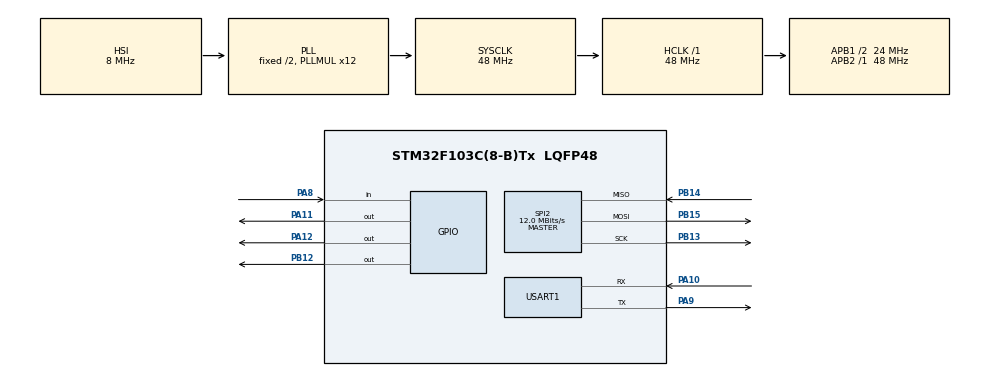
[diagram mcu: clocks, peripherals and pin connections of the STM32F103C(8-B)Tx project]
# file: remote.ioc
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Mcu.Family=STM32F1
Mcu.Name=STM32F103C(8-B)Tx
Mcu.Package=LQFP48
NVIC.PriorityGroup=NVIC_PRIORITYGROUP_4
PA10.Mode=Asynchronous
PA10.Signal=USART1_RX
PA11.PinState=GPIO_PIN_SET
PA11.Signal=GPIO_Output
PA12.Signal=GPIO_Output
PA13.Mode=Serial_Wire
PA13.Signal=SYS_JTMS-SWDIO
PA14.Mode=Serial_Wire
PA14.Signal=SYS_JTCK-SWCLK
PA8.GPIO_PuPd=GPIO_PULLUP
PA8.Signal=GPIO_Input
PA9.Mode=Asynchronous
PA9.Signal=USART1_TX
PB12.PinState=GPIO_PIN_SET
PB12.Signal=GPIO_Output
PB13.Mode=Full_Duplex_Master
PB13.Signal=SPI2_SCK
PB14.Mode=Full_Duplex_Master
PB14.Signal=SPI2_MISO
PB15.Mode=Full_Duplex_Master
PB15.Signal=SPI2_MOSI
PD0-OSC_IN.Mode=HSE-External-Oscillator
PD0-OSC_IN.Signal=RCC_OSC_IN
PD1-OSC_OUT.Mode=HSE-External-Oscillator
PD1-OSC_OUT.Signal=RCC_OSC_OUT
ProjectManager.HeapSize=0x200
ProjectManager.StackSize=0x400
ProjectManager.TargetToolchain=CMake
RCC.AHBFreq_Value=48000000
RCC.APB1CLKDivider=RCC_HCLK_DIV2
RCC.APB1Freq_Value=24000000
RCC.APB1TimFreq_Value=48000000
RCC.APB2Freq_Value=48000000
RCC.APB2TimFreq_Value=48000000
RCC.HCLKFreq_Value=48000000
RCC.PLLMUL=RCC_PLL_MUL12
RCC.SYSCLKFreq_VALUE=48000000
RCC.SYSCLKSource=RCC_SYSCLKSOURCE_PLLCLK
RCC.USBFreq_Value=48000000
SPI2.CalculateBaudRate=12.0 MBits/s
SPI2.Direction=SPI_DIRECTION_2LINES
SPI2.Mode=SPI_MODE_MASTER
SPI2.VirtualType=VM_MASTER
USART1.VirtualMode=VM_ASYNC
board=custom

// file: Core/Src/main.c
/* USER CODE BEGIN Header */
/**
  ******************************************************************************
  * @file           : main.c
  * @brief          : Main program body
  ******************************************************************************
  * @attention
  *
  * Copyright (c) 2026 STMicroelectronics.
  * All rights reserved.
  *
  * This software is licensed under terms that can be found in the LICENSE file
  * in the root directory of this software component.
  * If no LICENSE file comes with this software, it is provided AS-IS.
  *
  ******************************************************************************
  */
/* USER CODE END Header */
#include "main.h"
#include "spi.h"
#include "usart.h"
#include "gpio.h"

/* USER CODE BEGIN Includes */
#include "nrf24l01.h"
/* USER CODE END Includes */

/* USER CODE BEGIN PV */
uint8_t test_data[] = {0xAA, 0xBB, 0xCC, 0xDD};
uint8_t result;
/* 蜂鸣器配置 - 根据你的实际硬件修改 */
#define BEEP_PIN    GPIO_PIN_12      // PA12
#define BEEP_PORT   GPIOA
#define BEEP_ON()   HAL_GPIO_WritePin(BEEP_PORT, BEEP_PIN, GPIO_PIN_SET)
#define BEEP_OFF()  HAL_GPIO_WritePin(BEEP_PORT, BEEP_PIN, GPIO_PIN_RESET)

/* USER CODE END PV */

void SystemClock_Config(void);

int main(void)
{

  /* MCU Configuration--------------------------------------------------------*/

  /* Reset of all peripherals, Initializes the Flash interface and the Systick. */
  HAL_Init();

  /* Configure the system clock */
  SystemClock_Config();

  /* Initialize all configured peripherals */
  MX_GPIO_Init();
  MX_SPI2_Init();
  MX_USART1_UART_Init();
  /* USER CODE BEGIN 2 */

  // 发送数据并检测状态，用蜂鸣器提示
  BEEP_ON(); HAL_Delay(200); BEEP_OFF();
  HAL_Delay(200);
  BEEP_ON(); HAL_Delay(200); BEEP_OFF();

  // 2. 初始化NRF24L01

  if(NRF_Init()) {
    // 成功提示：嘟-嘟-嘟
    for(int i = 0; i < 3; i++) {
      BEEP_ON(); HAL_Delay(80); BEEP_OFF();
      HAL_Delay(40);
    }
  } else {
    // 失败提示：长鸣报警
    while(1) {
      BEEP_ON(); HAL_Delay(500); BEEP_OFF();
      HAL_Delay(500);
    }
  }

  // 等待2秒
  HAL_Delay(2000);

  /* USER CODE END 2 */

  /* Infinite loop */
  while (1)
  {

  }
}

void SystemClock_Config(void)
{
  RCC_OscInitTypeDef RCC_OscInitStruct = {0};
  RCC_ClkInitTypeDef RCC_ClkInitStruct = {0};

  /** Initializes the RCC Oscillators according to the specified parameters
  * in the RCC_OscInitTypeDef structure.
  */
  RCC_OscInitStruct.OscillatorType = RCC_OSCILLATORTYPE_HSI;
  RCC_OscInitStruct.HSIState = RCC_HSI_ON;
  RCC_OscInitStruct.HSICalibrationValue = RCC_HSICALIBRATION_DEFAULT;
  RCC_OscInitStruct.PLL.PLLState = RCC_PLL_ON;
  RCC_OscInitStruct.PLL.PLLSource = RCC_PLLSOURCE_HSI_DIV2;
  RCC_OscInitStruct.PLL.PLLMUL = RCC_PLL_MUL12;
  if (HAL_RCC_OscConfig(&RCC_OscInitStruct) != HAL_OK)
  {
    Error_Handler();
  }

  /** Initializes the CPU, AHB and APB buses clocks
  */
  RCC_ClkInitStruct.ClockType = RCC_CLOCKTYPE_HCLK|RCC_CLOCKTYPE_SYSCLK
                              |RCC_CLOCKTYPE_PCLK1|RCC_CLOCKTYPE_PCLK2;
  RCC_ClkInitStruct.SYSCLKSource = RCC_SYSCLKSOURCE_PLLCLK;
  RCC_ClkInitStruct.AHBCLKDivider = RCC_SYSCLK_DIV1;
  RCC_ClkInitStruct.APB1CLKDivider = RCC_HCLK_DIV2;
  RCC_ClkInitStruct.APB2CLKDivider = RCC_HCLK_DIV1;

  if (HAL_RCC_ClockConfig(&RCC_ClkInitStruct, FLASH_LATENCY_1) != HAL_OK)
  {
    Error_Handler();
  }
}

void Error_Handler(void)
{
  __disable_irq();
  while (1)
  {
  }
}
